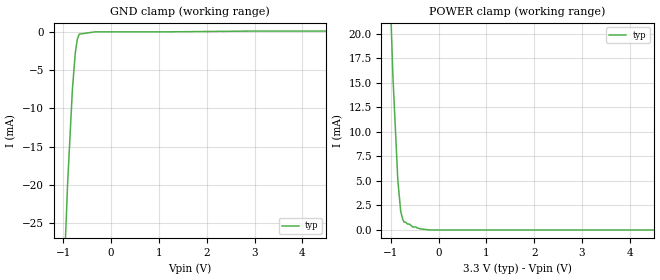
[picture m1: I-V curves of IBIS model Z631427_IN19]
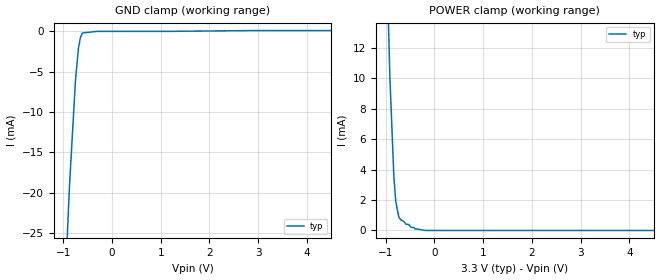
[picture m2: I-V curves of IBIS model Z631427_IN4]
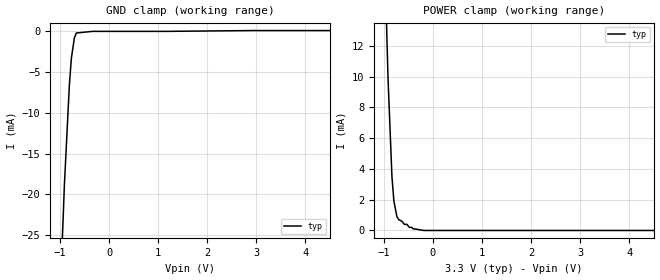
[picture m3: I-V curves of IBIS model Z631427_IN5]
| YOU ARE ONLY AUTHORIZED TO USE THIS SOFTWARE
| ACCORDING TO LICENSOR'S LICENSE RESTRICTIONS.
[IBIS Ver] 3.1
[File Name] mc100ep57dt_33.ibs
[File Rev] 4.0
[Source] Derived from MC10ep57 Measured and created by ICX Technology
[Date] 2/20/2004
[Copyright]
| (C) COPYRIGHT 1993-2000
| MENTOR GRAPHICS CORPORATION
| ICX STANDARD LIBRARY, ICX PROJECT MODELING,
| ICX CUSTOM MODELING, ICX VENDOR MODEL
| ALL RIGHTS RESERVED.
| THE FOLLOWING ARE TRADEMARKS OR SERVICE MARKS OF
| MENTOR GRAPHICS CORPORATION:ICX (R), ICX STANDARD
| LIBRARY(R), ICX PROJECT MODELING(R), ICX CUSTOM
| MODELING(R), qualityIBIS(TM), MODELVIEWER(TM),
| AND MODELEDITOR(TM)
| ALL COPIES OF SOFTWARE, INCLUDING BUT NOT LIMITED TO
| ANY MODIFICATIONS, ENHANCEMENTS OR DERIVATIVE WORKS,
| MUST CONTAIN ALL MENTOR GRAPHICS CORPORATION'S
| NOTICES AND LEGENDS, INCLUDING THOSE EMBEDDED IN
| SOFTWARE AND THOSE AFFIXED TO SOFTWARE MEDIUM
| AND CONTAINER, AS RECEIVED FROM MENTOR GRAPHICS
| CORPORATION.
|  ZAP Model Builder 2.8
[Component] MC100EP57DT_33
[Manufacturer] OnSemiconductor
[Package]
| variable   typ   min   max
R_pkg  .18ohms NA NA
L_pkg  4.22nH NA NA
C_pkg  .41pF NA NA
[Pin] signal_name  model_name  R_pin  L_pin C_pin
1 VCC POWER .194 5.16n .43p
2 D0 Z631427_IN4 .185 4.57n .42p
3 _D0 Z631427_IN5 .177 3.98n .42p
4 D1 Z631427_IN4 .174 3.79n .41p
5 _D1 Z631427_IN5 .171 3.6n .37p
6 D2 Z631427_IN4 .171 3.6n .37p
7 _D2 Z631427_IN5 .174 3.79n .41p
8 D3 Z631427_IN4 .177 3.98n .42p
9 _D3 Z631427_IN5 .185 4.57n .42p
10 VEE GND .194 5.16n .43p
11 VEE GND .194 5.16n .43p
12 VBB2 POWER .185 4.57n .42p
13 VBB1 POWER .177 3.98n .42p
14 VCC POWER .174 3.79n .41p
15 _Q Z631427_OUT15 .171 3.6n .37p
16 Q Z631427_OUT16 .171 3.6n .37p
17 VCC POWER .174 3.79n .41p
18 SEL0 Z631427_IN19 .177 3.98n .42p
19 SEL1 Z631427_IN19 .185 4.57n .42p
20 VCC POWER .194 5.16n .43p
[Diff Pin] inv_pin vdiff tdelay_typ tdelay_min tdelay_max
16 15 NA NA NA NA
2 3 150mv NA NA NA
4 5 150mv NA NA NA
6 7 150mv NA NA NA
8 9 150mv NA NA NA
| Models and submodels in the file (5): Z631427_IN19 (Input_ECL), Z631427_IN4 (Input_ECL), Z631427_IN5 (Input_ECL), Z631427_OUT15 (Output_ECL), Z631427_OUT16 (Output_ECL)
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| (C) COPYRIGHT 1993-2000
| MENTOR GRAPHICS CORPORATION
| ICX STANDARD LIBRARY, ICX PROJECT MODELING,
| ICX CUSTOM MODELING, ICX VENDOR MODEL
| ALL RIGHTS RESERVED.
| THE FOLLOWING ARE TRADEMARKS OR SERVICE MARKS OF
| MENTOR GRAPHICS CORPORATION:ICX (R), ICX STANDARD
| LIBRARY(R), ICX PROJECT MODELING(R), ICX CUSTOM
| MODELING(R), qualityIBIS(TM), MODELVIEWER(TM),
| AND MODELEDITOR(TM)
| ALL COPIES OF SOFTWARE, INCLUDING BUT NOT LIMITED TO
| ANY MODIFICATIONS, ENHANCEMENTS OR DERIVATIVE WORKS,
| MUST CONTAIN ALL MENTOR GRAPHICS CORPORATION'S
| NOTICES AND LEGENDS, INCLUDING THOSE EMBEDDED IN
| SOFTWARE AND THOSE AFFIXED TO SOFTWARE MEDIUM
| AND CONTAINER, AS RECEIVED FROM MENTOR GRAPHICS
| CORPORATION.
| Model Application Version 1.89 2/18/99.
[Model] Z631427_IN19
Model_type Input_ECL
Vinl = 1.675V
Vinh = 2.075V
C_comp 2.000pF NA NA
| variable typ   min   max
[Voltage Range] 3.300V NA NA
[GND Clamp Reference] 0.000V NA NA
[POWER Clamp Reference] 3.300V NA NA
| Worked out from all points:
|   GND clamp passes 1 mA (typ) near -0.71 V on its own axis
|   POWER clamp passes 1 mA (typ) near -0.74 V on its own axis
[GND Clamp]
-3.3V     -467.6mA   NA         NA
-1.074V   -45.9mA    NA         NA
-912mV    -19.9mA    NA         NA
-811mV    -7.5mA     NA         NA
-750mV    -2.7mA     NA         NA
-709mV    -1mA       NA         NA
-669mV    -300uA     NA         NA
-334.5mV  0A         NA         NA
1.196V    0A         NA         NA
3V        100uA      NA         NA
6.6V      100uA      NA         NA
[POWER Clamp]
-3.3V     421.2mA    NA         NA
-1.078V   33.3mA     NA         NA
-957mV    15.6mA     NA         NA
-855mV    5.1mA      NA         NA
-795mV    1.9mA      NA         NA
-754mV    1.1mA      NA         NA
-723.5mV  800uA      NA         NA
-652.5mV  600uA      NA         NA
-612mV    600uA      NA         NA
-541mV    300uA      NA         NA
-184.5mV  0A         NA         NA
6.6V      0A         NA         NA
| (C) COPYRIGHT 1993-2000
| MENTOR GRAPHICS CORPORATION
| ICX STANDARD LIBRARY, ICX PROJECT MODELING,
| ICX CUSTOM MODELING, ICX VENDOR MODEL
| ALL RIGHTS RESERVED.
| THE FOLLOWING ARE TRADEMARKS OR SERVICE MARKS OF
| MENTOR GRAPHICS CORPORATION:ICX (R), ICX STANDARD
| LIBRARY(R), ICX PROJECT MODELING(R), ICX CUSTOM
| MODELING(R), qualityIBIS(TM), MODELVIEWER(TM),
| AND MODELEDITOR(TM)
| ALL COPIES OF SOFTWARE, INCLUDING BUT NOT LIMITED TO
| ANY MODIFICATIONS, ENHANCEMENTS OR DERIVATIVE WORKS,
| MUST CONTAIN ALL MENTOR GRAPHICS CORPORATION'S
| NOTICES AND LEGENDS, INCLUDING THOSE EMBEDDED IN
| SOFTWARE AND THOSE AFFIXED TO SOFTWARE MEDIUM
| AND CONTAINER, AS RECEIVED FROM MENTOR GRAPHICS
| CORPORATION.
| Model Application Version 1.89 2/18/99.
[Model] Z631427_IN4
Model_type Input_ECL
Vinl = 1.675V
Vinh = 2.075V
C_comp 2.000pF NA NA
| variable typ   min   max
[Voltage Range] 3.300V NA NA
[GND Clamp Reference] 0.000V NA NA
[POWER Clamp Reference] 3.300V NA NA
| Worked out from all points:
|   GND clamp passes 1 mA (typ) near -0.66 V on its own axis
|   POWER clamp passes 1 mA (typ) near -0.74 V on its own axis
[GND Clamp]
-3.3V     -408.6mA   NA         NA
-1.034V   -41.3mA    NA         NA
-871mV    -19mA      NA         NA
-750mV    -6.1mA     NA         NA
-689mV    -2.1mA     NA         NA
-649mV    -800uA     NA         NA
-608mV    -200uA     NA         NA
-304mV    0A         NA         NA
1.186V    0A         NA         NA
2.919V    100uA      NA         NA
6.6V      100uA      NA         NA
[POWER Clamp]
-3.3V     371.6mA    NA         NA
-1.058V   27.4mA     NA         NA
-916mV    10.1mA     NA         NA
-835mV    3.6mA      NA         NA
-795mV    1.9mA      NA         NA
-734mV    900uA      NA         NA
-693mV    700uA      NA         NA
-581.5mV  400uA      NA         NA
-531mV    400uA      NA         NA
-480mV    200uA      NA         NA
-184.5mV  0A         NA         NA
6.6V      0A         NA         NA
| (C) COPYRIGHT 1993-2000
| MENTOR GRAPHICS CORPORATION
| ICX STANDARD LIBRARY, ICX PROJECT MODELING,
| ICX CUSTOM MODELING, ICX VENDOR MODEL
| ALL RIGHTS RESERVED.
| THE FOLLOWING ARE TRADEMARKS OR SERVICE MARKS OF
| MENTOR GRAPHICS CORPORATION:ICX (R), ICX STANDARD
| LIBRARY(R), ICX PROJECT MODELING(R), ICX CUSTOM
| MODELING(R), qualityIBIS(TM), MODELVIEWER(TM),
| AND MODELEDITOR(TM)
| ALL COPIES OF SOFTWARE, INCLUDING BUT NOT LIMITED TO
| ANY MODIFICATIONS, ENHANCEMENTS OR DERIVATIVE WORKS,
| MUST CONTAIN ALL MENTOR GRAPHICS CORPORATION'S
| NOTICES AND LEGENDS, INCLUDING THOSE EMBEDDED IN
| SOFTWARE AND THOSE AFFIXED TO SOFTWARE MEDIUM
| AND CONTAINER, AS RECEIVED FROM MENTOR GRAPHICS
| CORPORATION.
| Model Application Version 1.89 2/18/99.
[Model] Z631427_IN5
Model_type Input_ECL
Vinl = 1.675V
Vinh = 2.075V
C_comp 2.000pF NA NA
| variable typ   min   max
[Voltage Range] 3.300V NA NA
[GND Clamp Reference] 0.000V NA NA
[POWER Clamp Reference] 3.300V NA NA
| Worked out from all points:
|   GND clamp passes 1 mA (typ) near -0.71 V on its own axis
|   POWER clamp passes 1 mA (typ) near -0.74 V on its own axis
[GND Clamp]
-3.3V     -476.5mA   NA         NA
-1.034V   -38.2mA    NA         NA
-912mV    -18.8mA    NA         NA
-811mV    -6.6mA     NA         NA
-770mV    -3.3mA     NA         NA
-709mV    -800uA     NA         NA
-669mV    -200uA     NA         NA
-334.5mV  0A         NA         NA
1.165V    0A         NA         NA
2.939V    100uA      NA         NA
6.6V      100uA      NA         NA
[POWER Clamp]
-3.3V     366.5mA    NA         NA
-1.038V   24.4mA     NA         NA
-916mV    10mA       NA         NA
-835mV    3.5mA      NA         NA
-795mV    1.9mA      NA         NA
-734mV    900uA      NA         NA
-693mV    700uA      NA         NA
-581.5mV  400uA      NA         NA
-531mV    400uA      NA         NA
-480mV    200uA      NA         NA
-184.5mV  0A         NA         NA
6.6V      0A         NA         NA
